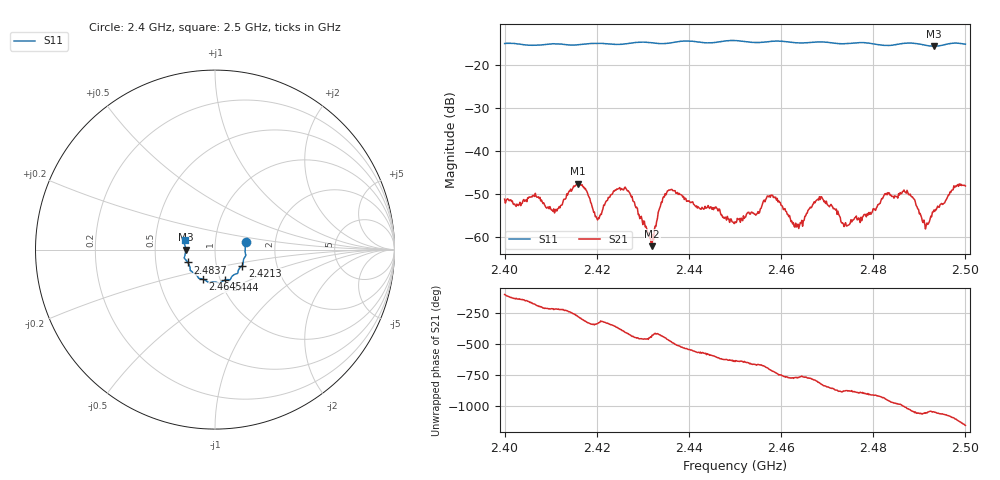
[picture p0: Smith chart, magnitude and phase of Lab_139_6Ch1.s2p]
# Hz S RI R 50
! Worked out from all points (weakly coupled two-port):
!   601 points, 2.4 GHz to 2.5 GHz, reference 50 ohm
!   highest |S21| = -47.53 dB at 2.4158 GHz (marker M1); lowest = -62.1 dB at 2.432 GHz (marker M2)
!   lowest |S11| = -15.7 dB at 2.4932 GHz (marker M3), VSWR 1.39, Z = 35.9 - j0.0613 ohm
!   |S11| at or under -10 dB: start of sweep to end of sweep
!   S12 and S22 are empty: the file has one direction only
!   S11 on the Smith chart (normalised r, x): 2.4 GHz: 1.41, +0.12; 2.4213 GHz: 1.33, -0.25; 2.444 GHz: 1.06, -0.37; 2.4645 GHz: 0.83, -0.29; 2.4837 GHz: 0.73, -0.11; 2.5 GHz: 0.71, +0.07
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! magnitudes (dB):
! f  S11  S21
! 2.4 GHz  -15.1  -51.1
! 2.4108 GHz  -15.2  -54.4
! 2.4158 GHz  -15.4  -47.5
! 2.4167 GHz  -15.3  -48.0
! 2.42 GHz  -15.0  -55.5
! 2.4213 GHz  -15.1  -53.4
! 2.4265 GHz  -15.1  -49.0
! 2.432 GHz  -14.9  -62.1
! 2.4333 GHz  -15.1  -54.3
! 2.4358 GHz  -15.0  -49.1
! 2.444 GHz  -14.9  -53.0
! 2.45 GHz  -14.4  -56.4
! 2.4577 GHz  -14.6  -50.7
! 2.4645 GHz  -15.0  -56.1
! 2.4667 GHz  -14.8  -53.0
! 2.4742 GHz  -15.1  -57.4
! 2.4833 GHz  -15.5  -49.9
! 2.4837 GHz  -15.5  -50.3
! 2.4878 GHz  -15.0  -50.1
! 2.4913 GHz  -15.5  -58.1
! 2.4932 GHz  -15.7  -53.7
! 2.5 GHz  -15.2  -48.1
